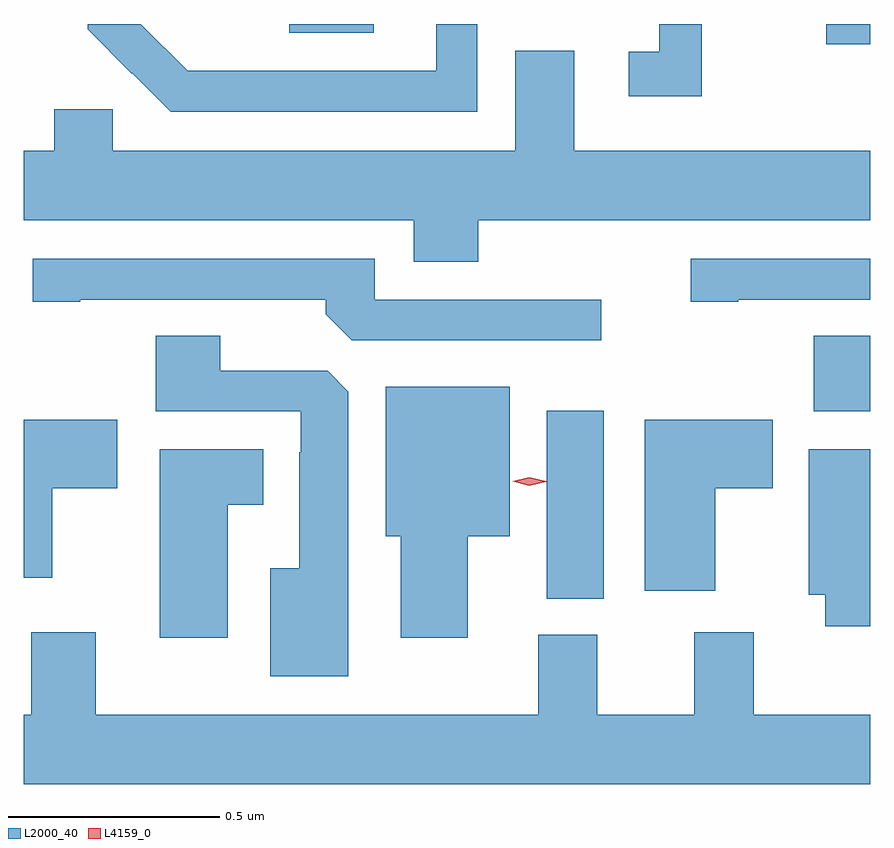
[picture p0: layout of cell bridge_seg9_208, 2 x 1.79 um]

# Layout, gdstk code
import gdstk
lib = gdstk.Library(unit=1e-6, precision=1e-09)
def R(c, l, rs):  # rectangles x0, y0, x1, y1
    for r in rs: c.add(gdstk.rectangle(r[:2], r[2:], *l))
def P(c, l, *ps):  # polygons
    for p in ps: c.add(gdstk.Polygon(p, *l))
L2000_40 = (2000, 40)
L4159_0 = (4159, 0)

bridge_seg9_208 = lib.new_cell('bridge_seg9_208')
R(bridge_seg9_208, L2000_40, [(167.126,1199.521,167.26,1199.965), (167.756,1199.964,167.89,1200.143), (167.786,1200.831,167.89,1200.879), (166.518,1200.858,166.717,1200.879)])
P(bridge_seg9_208, L2000_40, [(166.962,1200.879),(166.865,1200.879),(166.865,1200.768),(166.381,1200.768),(166.381,1200.769),(166.278,1200.769),(166.167,1200.879),(166.041,1200.879),(166.041,1200.867),(166.146,1200.762),(166.147,1200.763),(166.238,1200.672),(166.962,1200.672)],
  [(167.492,1200.879),(167.391,1200.879),(167.391,1200.813),(167.319,1200.813),(167.319,1200.708),(167.492,1200.708)],
  [(166.964,1200.416),(167.89,1200.416),(167.89,1200.58),(167.191,1200.58),(167.191,1200.816),(167.051,1200.816),(167.051,1200.58),(166.101,1200.58),(166.101,1200.678),(165.962,1200.678),(165.962,1200.58),(165.89,1200.58),(165.89,1200.416),(166.811,1200.416),(166.811,1200.317),(166.964,1200.317)],
  [(167.578,1200.228),(167.89,1200.228),(167.89,1200.324),(167.466,1200.324),(167.466,1200.223),(167.578,1200.223)],
  [(167.254,1200.228),(166.719,1200.228),(166.719,1200.324),(165.912,1200.324),(165.912,1200.223),(166.024,1200.223),(166.024,1200.228),(166.604,1200.228),(166.604,1200.194),(166.665,1200.132),(167.254,1200.132)],
  [(166.657,1200.011),(166.608,1200.06),(166.354,1200.06),(166.354,1200.143),(166.202,1200.143),(166.202,1199.964),(166.545,1199.964),(166.545,1199.867),(166.541,1199.867),(166.541,1199.593),(166.472,1199.593),(166.472,1199.339),(166.657,1199.339)],
  [(166.939,1199.669),(167.038,1199.669),(167.038,1200.022),(166.745,1200.022),(166.745,1199.669),(166.781,1199.669),(166.781,1199.43),(166.939,1199.43)],
  [(165.958,1199.782),(166.111,1199.782),(166.111,1199.944),(165.89,1199.944),(165.89,1199.571),(165.958,1199.571)],
  [(167.524,1199.782),(167.659,1199.782),(167.659,1199.944),(167.357,1199.944),(167.357,1199.541),(167.524,1199.541)],
  [(167.89,1199.875),(167.744,1199.875),(167.744,1199.531),(167.783,1199.531),(167.783,1199.457),(167.89,1199.457)],
  [(166.372,1199.744),(166.456,1199.744),(166.456,1199.875),(166.211,1199.875),(166.211,1199.43),(166.372,1199.43)],
  [(167.89,1199.248),(167.614,1199.248),(167.614,1199.443),(167.474,1199.443),(167.474,1199.248),(167.245,1199.248),(167.245,1199.436),(167.105,1199.436),(167.105,1199.248),(166.06,1199.248),(166.06,1199.443),(165.908,1199.443),(165.908,1199.248),(165.89,1199.248),(165.89,1199.084),(167.89,1199.084)])
P(bridge_seg9_208, L4159_0, [(167.084,1199.789),(167.045,1199.799),(167.044,1199.799),(167.045,1199.799),(167.084,1199.809),(167.124,1199.799),(167.124,1199.798),(167.124,1199.798)])

lib.write_gds('bridge_seg9_208.gds')
